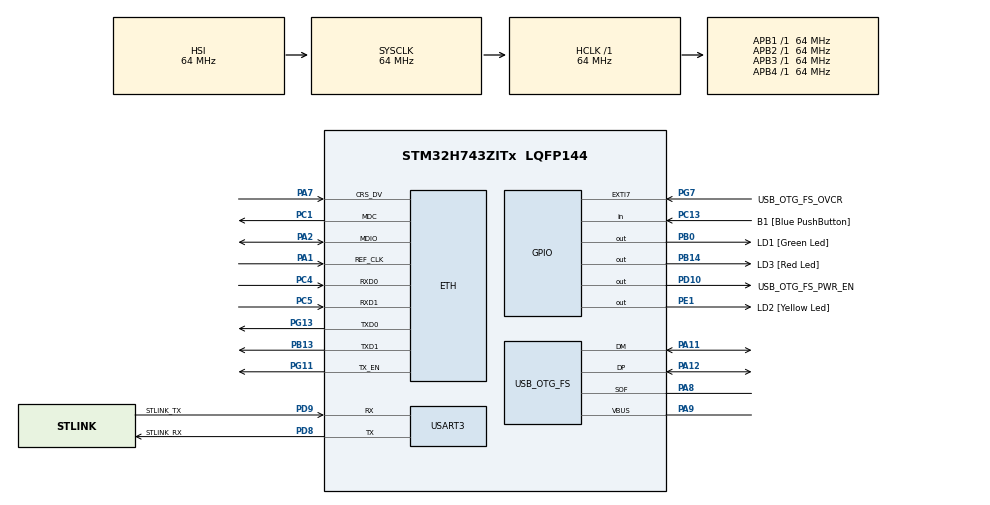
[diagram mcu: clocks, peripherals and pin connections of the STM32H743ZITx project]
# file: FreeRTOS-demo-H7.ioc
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ETH.MediaInterface=HAL_ETH_RMII_MODE
FREERTOS.Tasks01=blink1,32,128,StartBlink1,Default,NULL,Dynamic,NULL,NULL;blink2,24,128,StartBlink2,Default,NULL,Dynamic,NULL,NULL;blink3,16,128,StartBlink3,Default,NULL,Dynamic,NULL,NULL
FREERTOS.configUSE_NEWLIB_REENTRANT=0
Mcu.Family=STM32H7
Mcu.Name=STM32H743ZITx
Mcu.Package=LQFP144
NVIC.PriorityGroup=NVIC_PRIORITYGROUP_4
NVIC.TIM6_DAC_IRQn=true\:15\:0\:false\:false\:true\:false\:false\:true\:true
NVIC.TimeBase=TIM6_DAC_IRQn
NVIC.TimeBaseIP=TIM6
PA1.Mode=RMII
PA1.Signal=ETH_REF_CLK
PA11.Mode=Device_Only
PA11.Signal=USB_OTG_FS_DM
PA12.Mode=Device_Only
PA12.Signal=USB_OTG_FS_DP
PA2.Mode=RMII
PA2.Signal=ETH_MDIO
PA7.Mode=RMII
PA7.Signal=ETH_CRS_DV
PA8.Mode=Activate_SOF_FS
PA8.Signal=USB_OTG_FS_SOF
PA9.Mode=Activate_VBUS
PA9.Signal=USB_OTG_FS_VBUS
PB0.GPIO_Label=LD1 [Green Led]
PB0.Signal=GPIO_Output
PB13.Mode=RMII
PB13.Signal=ETH_TXD1
PB14.GPIO_Label=LD3 [Red Led]
PB14.Signal=GPIO_Output
PC1.Mode=RMII
PC1.Signal=ETH_MDC
PC13.GPIO_Label=B1 [Blue PushButton]
PC13.Signal=GPIO_Input
PC14-OSC32_IN\ (OSC32_IN).Mode=LSE-External-Oscillator
PC14-OSC32_IN\ (OSC32_IN).Signal=RCC_OSC32_IN
PC15-OSC32_OUT\ (OSC32_OUT).Mode=LSE-External-Oscillator
PC15-OSC32_OUT\ (OSC32_OUT).Signal=RCC_OSC32_OUT
PC4.Mode=RMII
PC4.Signal=ETH_RXD0
PC5.Mode=RMII
PC5.Signal=ETH_RXD1
PD10.GPIO_Label=USB_OTG_FS_PWR_EN
PD10.Signal=GPIO_Output
PD8.GPIO_Label=STLINK_RX
PD8.Mode=Asynchronous
PD8.Signal=USART3_TX
PD9.GPIO_Label=STLINK_TX
PD9.Mode=Asynchronous
PD9.Signal=USART3_RX
PE1.GPIO_Label=LD2 [Yellow Led]
PE1.Signal=GPIO_Output
PG11.Mode=RMII
PG11.Signal=ETH_TX_EN
PG13.Mode=RMII
PG13.Signal=ETH_TXD0
PG7.GPIO_Label=USB_OTG_FS_OVCR
PG7.Signal=GPXTI7
PH0-OSC_IN\ (PH0).Mode=HSE-External-Clock-Source
PH0-OSC_IN\ (PH0).Signal=RCC_OSC_IN
PH1-OSC_OUT\ (PH1).Signal=RCC_OSC_OUT
ProjectManager.HeapSize=0x200
ProjectManager.StackSize=0x400
ProjectManager.TargetToolchain=STM32CubeIDE
RCC.ADCFreq_Value=16125000
RCC.APB1Freq_Value=64000000
RCC.APB2Freq_Value=64000000
RCC.APB3Freq_Value=64000000
RCC.APB4Freq_Value=64000000
RCC.CortexFreq_Value=64000000
RCC.DIVM1=1
RCC.DIVN1=24
RCC.DIVQ1=4
RCC.HCLKFreq_Value=64000000
RCC.HSE_VALUE=8000000
RCC.PLLFRACN=0
RCC.PWR_Regulator_Voltage_Scale=PWR_REGULATOR_VOLTAGE_SCALE2
RCC.SYSCLKFreq_VALUE=64000000
RCC.USBFreq_Value=48000000
USART3.VirtualMode-Asynchronous=VM_ASYNC
USB_OTG_FS.VirtualMode=Device_Only
VP_FREERTOS_VS_CMSIS_V2.Mode=CMSIS_V2
VP_SYS_VS_tim6.Mode=TIM6
board=NUCLEO-H743ZI2

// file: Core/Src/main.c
/* USER CODE BEGIN Header */
/**
  ******************************************************************************
  * @file           : main.c
  * @brief          : Main program body
  ******************************************************************************
  * @attention
  *
  * Copyright (c) 2022 STMicroelectronics.
  * All rights reserved.
  *
  * This software is licensed under terms that can be found in the LICENSE file
  * in the root directory of this software component.
  * If no LICENSE file comes with this software, it is provided AS-IS.
  *
  ******************************************************************************
  */
/* USER CODE END Header */
#include "main.h"
#include "string.h"
#include "cmsis_os.h"

/* USER CODE BEGIN Includes */
#include <stdio.h>
#include <string.h>
/* USER CODE END Includes */

/* USER CODE BEGIN PD */
uint32_t blink1Tick = 0;
uint32_t blink2Tick = 0;
uint32_t blink3Tick = 0;
/* USER CODE END PD */

#if defined ( __ICCARM__ ) /*!< IAR Compiler */
#pragma location=0x30000000
ETH_DMADescTypeDef  DMARxDscrTab[ETH_RX_DESC_CNT]; /* Ethernet Rx DMA Descriptors */
#pragma location=0x30000200
ETH_DMADescTypeDef  DMATxDscrTab[ETH_TX_DESC_CNT]; /* Ethernet Tx DMA Descriptors */
#pragma location=0x30000260
uint8_t Rx_Buff[ETH_RX_DESC_CNT][ETH_MAX_PACKET_SIZE]; /* Ethernet Receive Buffers */

#elif defined ( __CC_ARM )  /* MDK ARM Compiler */

__attribute__((at(0x30000000))) ETH_DMADescTypeDef  DMARxDscrTab[ETH_RX_DESC_CNT]; /* Ethernet Rx DMA Descriptors */
__attribute__((at(0x30000200))) ETH_DMADescTypeDef  DMATxDscrTab[ETH_TX_DESC_CNT]; /* Ethernet Tx DMA Descriptors */
__attribute__((at(0x30000260))) uint8_t Rx_Buff[ETH_RX_DESC_CNT][ETH_MAX_PACKET_SIZE]; /* Ethernet Receive Buffer */

#elif defined ( __GNUC__ ) /* GNU Compiler */
ETH_DMADescTypeDef DMARxDscrTab[ETH_RX_DESC_CNT] __attribute__((section(".RxDecripSection"))); /* Ethernet Rx DMA Descriptors */
ETH_DMADescTypeDef DMATxDscrTab[ETH_TX_DESC_CNT] __attribute__((section(".TxDecripSection")));   /* Ethernet Tx DMA Descriptors */
uint8_t Rx_Buff[ETH_RX_DESC_CNT][ETH_MAX_PACKET_SIZE] __attribute__((section(".RxArraySection"))); /* Ethernet Receive Buffers */
#endif

ETH_TxPacketConfig TxConfig;

ETH_HandleTypeDef heth;

UART_HandleTypeDef huart3;

PCD_HandleTypeDef hpcd_USB_OTG_FS;

/* Definitions for blink1 */
osThreadId_t blink1Handle;
const osThreadAttr_t blink1_attributes = {
  .name = "blink1",
  .stack_size = 128 * 4,
  .priority = (osPriority_t) osPriorityAboveNormal,
};
/* Definitions for blink2 */
osThreadId_t blink2Handle;
const osThreadAttr_t blink2_attributes = {
  .name = "blink2",
  .stack_size = 128 * 4,
  .priority = (osPriority_t) osPriorityNormal,
};
/* Definitions for blink3 */
osThreadId_t blink3Handle;
const osThreadAttr_t blink3_attributes = {
  .name = "blink3",
  .stack_size = 128 * 4,
  .priority = (osPriority_t) osPriorityBelowNormal,
};

void SystemClock_Config(void);
static void MX_GPIO_Init(void);
static void MX_ETH_Init(void);
static void MX_USART3_UART_Init(void);
static void MX_USB_OTG_FS_PCD_Init(void);
void StartBlink1(void *argument);
void StartBlink2(void *argument);
void StartBlink3(void *argument);

int main(void)
{

  /* MCU Configuration--------------------------------------------------------*/

  /* Reset of all peripherals, Initializes the Flash interface and the Systick. */
  HAL_Init();

  /* Configure the system clock */
  SystemClock_Config();

  /* Initialize all configured peripherals */
  MX_GPIO_Init();
  MX_ETH_Init();
  MX_USART3_UART_Init();
  MX_USB_OTG_FS_PCD_Init();

  /* Init scheduler */
  osKernelInitialize();

  /* Create the thread(s) */
  /* creation of blink1 */
  blink1Handle = osThreadNew(StartBlink1, NULL, &blink1_attributes);

  /* creation of blink2 */
  blink2Handle = osThreadNew(StartBlink2, NULL, &blink2_attributes);

  /* creation of blink3 */
  blink3Handle = osThreadNew(StartBlink3, NULL, &blink3_attributes);

  /* Start scheduler */
  osKernelStart();

  /* We should never get here as control is now taken by the scheduler */
  /* Infinite loop */
  while (1)
  {

  }
}

void SystemClock_Config(void)
{
  RCC_OscInitTypeDef RCC_OscInitStruct = {0};
  RCC_ClkInitTypeDef RCC_ClkInitStruct = {0};

  /** Supply configuration update enable
  */
  HAL_PWREx_ConfigSupply(PWR_LDO_SUPPLY);

  /** Configure the main internal regulator output voltage
  */
  __HAL_PWR_VOLTAGESCALING_CONFIG(PWR_REGULATOR_VOLTAGE_SCALE2);

  while(!__HAL_PWR_GET_FLAG(PWR_FLAG_VOSRDY)) {}

  /** Initializes the RCC Oscillators according to the specified parameters
  * in the RCC_OscInitTypeDef structure.
  */
  RCC_OscInitStruct.OscillatorType = RCC_OSCILLATORTYPE_HSI|RCC_OSCILLATORTYPE_HSE;
  RCC_OscInitStruct.HSEState = RCC_HSE_BYPASS;
  RCC_OscInitStruct.HSIState = RCC_HSI_DIV1;
  RCC_OscInitStruct.HSICalibrationValue = RCC_HSICALIBRATION_DEFAULT;
  RCC_OscInitStruct.PLL.PLLState = RCC_PLL_ON;
  RCC_OscInitStruct.PLL.PLLSource = RCC_PLLSOURCE_HSE;
  RCC_OscInitStruct.PLL.PLLM = 1;
  RCC_OscInitStruct.PLL.PLLN = 24;
  RCC_OscInitStruct.PLL.PLLP = 2;
  RCC_OscInitStruct.PLL.PLLQ = 4;
  RCC_OscInitStruct.PLL.PLLR = 2;
  RCC_OscInitStruct.PLL.PLLRGE = RCC_PLL1VCIRANGE_3;
  RCC_OscInitStruct.PLL.PLLVCOSEL = RCC_PLL1VCOWIDE;
  RCC_OscInitStruct.PLL.PLLFRACN = 0;
  if (HAL_RCC_OscConfig(&RCC_OscInitStruct) != HAL_OK)
  {
    Error_Handler();
  }

  /** Initializes the CPU, AHB and APB buses clocks
  */
  RCC_ClkInitStruct.ClockType = RCC_CLOCKTYPE_HCLK|RCC_CLOCKTYPE_SYSCLK
                              |RCC_CLOCKTYPE_PCLK1|RCC_CLOCKTYPE_PCLK2
                              |RCC_CLOCKTYPE_D3PCLK1|RCC_CLOCKTYPE_D1PCLK1;
  RCC_ClkInitStruct.SYSCLKSource = RCC_SYSCLKSOURCE_HSI;
  RCC_ClkInitStruct.SYSCLKDivider = RCC_SYSCLK_DIV1;
  RCC_ClkInitStruct.AHBCLKDivider = RCC_HCLK_DIV1;
  RCC_ClkInitStruct.APB3CLKDivider = RCC_APB3_DIV1;
  RCC_ClkInitStruct.APB1CLKDivider = RCC_APB1_DIV1;
  RCC_ClkInitStruct.APB2CLKDivider = RCC_APB2_DIV1;
  RCC_ClkInitStruct.APB4CLKDivider = RCC_APB4_DIV1;

  if (HAL_RCC_ClockConfig(&RCC_ClkInitStruct, FLASH_LATENCY_1) != HAL_OK)
  {
    Error_Handler();
  }
}

static void MX_ETH_Init(void)
{

   static uint8_t MACAddr[6];

  heth.Instance = ETH;
  MACAddr[0] = 0x00;
  MACAddr[1] = 0x80;
  MACAddr[2] = 0xE1;
  MACAddr[3] = 0x00;
  MACAddr[4] = 0x00;
  MACAddr[5] = 0x00;
  heth.Init.MACAddr = &MACAddr[0];
  heth.Init.MediaInterface = HAL_ETH_RMII_MODE;
  heth.Init.TxDesc = DMATxDscrTab;
  heth.Init.RxDesc = DMARxDscrTab;
  heth.Init.RxBuffLen = 1524;

  if (HAL_ETH_Init(&heth) != HAL_OK)
  {
    Error_Handler();
  }

  memset(&TxConfig, 0 , sizeof(ETH_TxPacketConfig));
  TxConfig.Attributes = ETH_TX_PACKETS_FEATURES_CSUM | ETH_TX_PACKETS_FEATURES_CRCPAD;
  TxConfig.ChecksumCtrl = ETH_CHECKSUM_IPHDR_PAYLOAD_INSERT_PHDR_CALC;
  TxConfig.CRCPadCtrl = ETH_CRC_PAD_INSERT;

}

static void MX_USART3_UART_Init(void)
{

  huart3.Instance = USART3;
  huart3.Init.BaudRate = 115200;
  huart3.Init.WordLength = UART_WORDLENGTH_8B;
  huart3.Init.StopBits = UART_STOPBITS_1;
  huart3.Init.Parity = UART_PARITY_NONE;
  huart3.Init.Mode = UART_MODE_TX_RX;
  huart3.Init.HwFlowCtl = UART_HWCONTROL_NONE;
  huart3.Init.OverSampling = UART_OVERSAMPLING_16;
  huart3.Init.OneBitSampling = UART_ONE_BIT_SAMPLE_DISABLE;
  huart3.Init.ClockPrescaler = UART_PRESCALER_DIV1;
  huart3.AdvancedInit.AdvFeatureInit = UART_ADVFEATURE_NO_INIT;
  if (HAL_UART_Init(&huart3) != HAL_OK)
  {
    Error_Handler();
  }
  if (HAL_UARTEx_SetTxFifoThreshold(&huart3, UART_TXFIFO_THRESHOLD_1_8) != HAL_OK)
  {
    Error_Handler();
  }
  if (HAL_UARTEx_SetRxFifoThreshold(&huart3, UART_RXFIFO_THRESHOLD_1_8) != HAL_OK)
  {
    Error_Handler();
  }
  if (HAL_UARTEx_DisableFifoMode(&huart3) != HAL_OK)
  {
    Error_Handler();
  }

}

static void MX_USB_OTG_FS_PCD_Init(void)
{

  hpcd_USB_OTG_FS.Instance = USB_OTG_FS;
  hpcd_USB_OTG_FS.Init.dev_endpoints = 9;
  hpcd_USB_OTG_FS.Init.speed = PCD_SPEED_FULL;
  hpcd_USB_OTG_FS.Init.dma_enable = DISABLE;
  hpcd_USB_OTG_FS.Init.phy_itface = PCD_PHY_EMBEDDED;
  hpcd_USB_OTG_FS.Init.Sof_enable = ENABLE;
  hpcd_USB_OTG_FS.Init.low_power_enable = DISABLE;
  hpcd_USB_OTG_FS.Init.lpm_enable = DISABLE;
  hpcd_USB_OTG_FS.Init.battery_charging_enable = ENABLE;
  hpcd_USB_OTG_FS.Init.vbus_sensing_enable = ENABLE;
  hpcd_USB_OTG_FS.Init.use_dedicated_ep1 = DISABLE;
  if (HAL_PCD_Init(&hpcd_USB_OTG_FS) != HAL_OK)
  {
    Error_Handler();
  }

}

static void MX_GPIO_Init(void)
{
  GPIO_InitTypeDef GPIO_InitStruct = {0};

  /* GPIO Ports Clock Enable */
  __HAL_RCC_GPIOC_CLK_ENABLE();
  __HAL_RCC_GPIOH_CLK_ENABLE();
  __HAL_RCC_GPIOA_CLK_ENABLE();
  __HAL_RCC_GPIOB_CLK_ENABLE();
  __HAL_RCC_GPIOD_CLK_ENABLE();
  __HAL_RCC_GPIOG_CLK_ENABLE();
  __HAL_RCC_GPIOE_CLK_ENABLE();

  /*Configure GPIO pin Output Level */
  HAL_GPIO_WritePin(GPIOB, LD1_Pin|LD3_Pin, GPIO_PIN_RESET);

  /*Configure GPIO pin Output Level */
  HAL_GPIO_WritePin(USB_OTG_FS_PWR_EN_GPIO_Port, USB_OTG_FS_PWR_EN_Pin, GPIO_PIN_RESET);

  /*Configure GPIO pin Output Level */
  HAL_GPIO_WritePin(LD2_GPIO_Port, LD2_Pin, GPIO_PIN_RESET);

  /*Configure GPIO pin : B1_Pin */
  GPIO_InitStruct.Pin = B1_Pin;
  GPIO_InitStruct.Mode = GPIO_MODE_INPUT;
  GPIO_InitStruct.Pull = GPIO_NOPULL;
  HAL_GPIO_Init(B1_GPIO_Port, &GPIO_InitStruct);

  /*Configure GPIO pins : LD1_Pin LD3_Pin */
  GPIO_InitStruct.Pin = LD1_Pin|LD3_Pin;
  GPIO_InitStruct.Mode = GPIO_MODE_OUTPUT_PP;
  GPIO_InitStruct.Pull = GPIO_NOPULL;
  GPIO_InitStruct.Speed = GPIO_SPEED_FREQ_LOW;
  HAL_GPIO_Init(GPIOB, &GPIO_InitStruct);

  /*Configure GPIO pin : USB_OTG_FS_PWR_EN_Pin */
  GPIO_InitStruct.Pin = USB_OTG_FS_PWR_EN_Pin;
  GPIO_InitStruct.Mode = GPIO_MODE_OUTPUT_PP;
  GPIO_InitStruct.Pull = GPIO_NOPULL;
  GPIO_InitStruct.Speed = GPIO_SPEED_FREQ_LOW;
  HAL_GPIO_Init(USB_OTG_FS_PWR_EN_GPIO_Port, &GPIO_InitStruct);

  /*Configure GPIO pin : USB_OTG_FS_OVCR_Pin */
  GPIO_InitStruct.Pin = USB_OTG_FS_OVCR_Pin;
  GPIO_InitStruct.Mode = GPIO_MODE_IT_RISING;
  GPIO_InitStruct.Pull = GPIO_NOPULL;
  HAL_GPIO_Init(USB_OTG_FS_OVCR_GPIO_Port, &GPIO_InitStruct);

  /*Configure GPIO pin : LD2_Pin */
  GPIO_InitStruct.Pin = LD2_Pin;
  GPIO_InitStruct.Mode = GPIO_MODE_OUTPUT_PP;
  GPIO_InitStruct.Pull = GPIO_NOPULL;
  GPIO_InitStruct.Speed = GPIO_SPEED_FREQ_LOW;
  HAL_GPIO_Init(LD2_GPIO_Port, &GPIO_InitStruct);

}

/* USER CODE BEGIN Header_StartBlink1 */
/**
  * @brief  Function implementing the blink1 thread. Priority: Above Normal
  * @param  argument: Not used
  * @retval None
  */
/* USER CODE END Header_StartBlink1 */
void StartBlink1(void *argument)
{
  /* USER CODE BEGIN 5 */
  /* Infinite loop */
  for(;;)
  {
	uint8_t delay[50];
	sprintf(delay, "Blink1 Delay: %lu ms\r\n", HAL_GetTick() - blink1Tick);
	HAL_GPIO_TogglePin(GPIOB, GPIO_PIN_0);
	HAL_UART_Transmit(&huart3,delay,strlen(delay),10);
	for(int i = 0; i < 100000; ++i);
	blink1Tick = HAL_GetTick();
    osDelay(1000);
  }

  // if loop breaks accidentally
  osThreadTerminate(NULL);
  /* USER CODE END 5 */
}

/* USER CODE BEGIN Header_StartBlink2 */
/**
* @brief Function implementing the blink2 thread. Priority: Normal
* @param argument: Not used
* @retval None
*/
/* USER CODE END Header_StartBlink2 */
void StartBlink2(void *argument)
{
  /* USER CODE BEGIN StartBlink2 */
  /* Infinite loop */
  for(;;)
  {
	uint8_t delay[50];
	sprintf(delay, "Blink2 Delay: %lu ms\r\n", HAL_GetTick() - blink2Tick);
	HAL_GPIO_TogglePin(GPIOE, GPIO_PIN_1);
	HAL_UART_Transmit(&huart3,delay,strlen(delay),10);
	for(int i = 0; i < 100000; ++i);
	blink2Tick = HAL_GetTick();
	osDelay(1500);
  }

  // if loop breaks accidentally
  osThreadTerminate(NULL);
  /* USER CODE END StartBlink2 */
}

/* USER CODE BEGIN Header_StartBlink3 */
/**
* @brief Function implementing the blink3 thread. Priority: Below Normal
* @param argument: Not used
* @retval None
*/
/* USER CODE END Header_StartBlink3 */
void StartBlink3(void *argument)
{
  /* USER CODE BEGIN StartBlink3 */
  /* Infinite loop */
  for(;;)
  {
	uint8_t delay[50];
	sprintf(delay, "Blink3 Delay: %lu ms\r\n", HAL_GetTick() - blink3Tick);
	HAL_GPIO_TogglePin(GPIOB, GPIO_PIN_14);
	HAL_UART_Transmit(&huart3,delay,strlen(delay),10);
	for(int i = 0; i < 100000; ++i);
	blink3Tick = HAL_GetTick();
	osDelay(2000);
  }

  // if loop breaks accidentally
  osThreadTerminate(NULL);
  /* USER CODE END StartBlink3 */
}

void HAL_TIM_PeriodElapsedCallback(TIM_HandleTypeDef *htim)
{
  if (htim->Instance == TIM6) {
    HAL_IncTick();
  }
}

void Error_Handler(void)
{
  __disable_irq();
  while (1)
  {
  }
}
